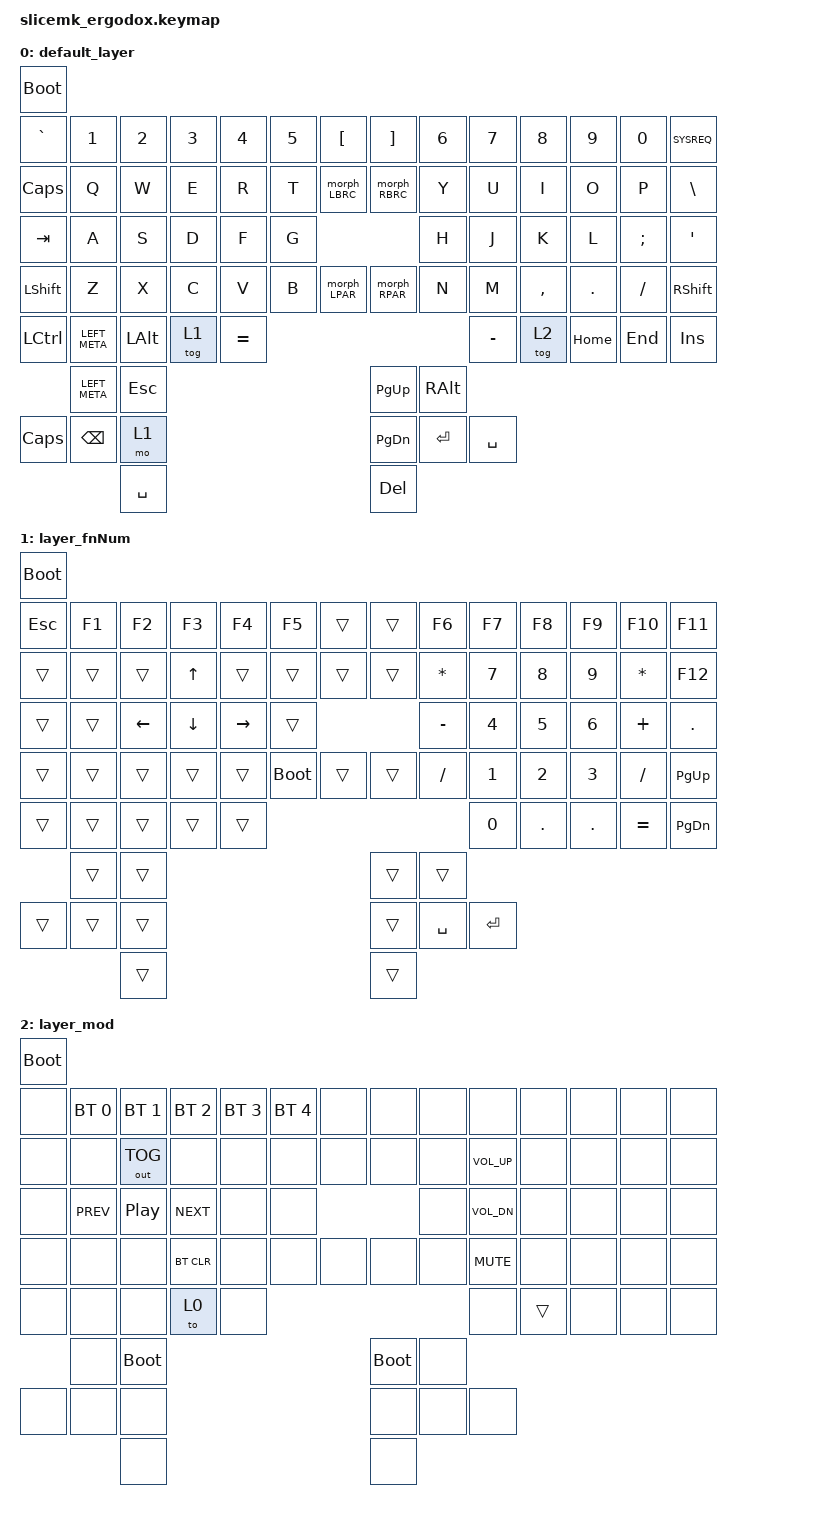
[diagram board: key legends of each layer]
#include <behaviors.dtsi>
#include <dt-bindings/zmk/bt.h>
#include <dt-bindings/zmk/keys.h>
#include <dt-bindings/zmk/mouse.h>
#include <dt-bindings/zmk/outputs.h>

/ {
  behaviors {

    hm: homerow_mods {
        compatible = "zmk,behavior-hold-tap";
        label = "HOMEROW_MODS";
        #binding-cells = <2>;
        tapping-term-ms = <200>;
        quick_tap_ms = <175>;
        flavor = "tap-preferred";
        bindings = <&kp>, <&kp>;
    };

    morph_LPAR: morph_LPAR {
        compatible = "zmk,behavior-mod-morph";
        #binding-cells = <0>;
        bindings = <&kp LPAR>, <&kp LBKT>;
        mods = <(MOD_LSFT|MOD_RSFT)>;
    };

    morph_RPAR: morph_RPAR {
        compatible = "zmk,behavior-mod-morph";
        #binding-cells = <0>;
        bindings = <&kp RPAR>, <&kp RBKT>;
        mods = <(MOD_LSFT|MOD_RSFT)>;
    };

    morph_LBRC: morph_LBRC {
        compatible = "zmk,behavior-mod-morph";
        #binding-cells = <0>;
        bindings = <&kp LBRC>, <&kp LT>;
        mods = <(MOD_LSFT|MOD_RSFT)>;
    };

    morph_RBRC: morph_RBRC {
        compatible = "zmk,behavior-mod-morph";
        #binding-cells = <0>;
        bindings = <&kp RBRC>, <&kp GT>;
        mods = <(MOD_LSFT|MOD_RSFT)>;
    };
  };

  keymap {
      compatible = "zmk,keymap";


      default_layer {
          bindings = <
&bootloader
&kp        GRAVE  &kp        N1  &kp       N2  &kp N3  &kp    N4  &kp N5  &kp LEFT_BRACKET    &kp RIGHT_BRACKET  &kp N6  &kp    N7  &kp    N8  &kp   N9  &kp   N0  &kp      SYSREQ
&kp     CAPSLOCK  &kp         Q  &kp        W  &kp  E  &kp     R  &kp  T  &morph_LBRC         &morph_RBRC        &kp  Y  &kp     U  &kp     I  &kp    O  &kp    P  &kp        BSLH
&kp          TAB  &kp         A  &kp        S  &kp  D  &kp     F  &kp  G                                         &kp  H  &kp     J  &kp     K  &kp    L  &kp SEMI  &kp         SQT
&kp        LSHFT  &kp         Z  &kp        X  &kp  C  &kp     V  &kp  B  &morph_LPAR         &morph_RPAR        &kp  N  &kp     M  &kp COMMA  &kp  DOT  &kp FSLH  &kp RIGHT_SHIFT
&kp LEFT_CONTROL  &kp LEFT_META  &kp LEFT_ALT  &tog 1  &kp EQUAL                                                         &kp MINUS  &tog    2  &kp HOME  &kp  END  &kp         INS

              &kp LEFT_META  &kp   ESC                                                        &kp   PAGE_UP  &kp RIGHT_ALT
&kp CAPSLOCK  &kp BACKSPACE  &mo     1                                                        &kp PAGE_DOWN  &kp     ENTER  &kp SPACE
                             &kp SPACE                                                        &kp       DEL
					>;
      };

      layer_fnNum {
          bindings = <
&bootloader
&kp ESCAPE  &kp F1  &kp   F2  &kp   F3  &kp    F4  &kp      F5  &trans    &trans  &kp    F6  &kp F7  &kp     F8  &kp     F9  &kp      F10 &kp       F11
&trans      &trans  &trans    &kp   UP  &trans     &trans       &trans    &trans  &kp  STAR  &kp N7  &kp     N8  &kp     N9  &kp ASTERISK &kp       F12
&trans      &trans  &kp LEFT  &kp DOWN  &kp RIGHT  &trans                         &kp MINUS  &kp N4  &kp     N5  &kp     N6  &kp     PLUS &kp    PERIOD
&trans      &trans  &trans    &trans    &trans     &bootloader  &trans    &trans  &kp SLASH  &kp N1  &kp     N2  &kp     N3  &kp    SLASH &kp   PAGE_UP
&trans      &trans  &trans    &trans    &trans                                               &kp N0  &kp PERIOD  &kp PERIOD  &kp    EQUAL &kp PAGE_DOWN

        &trans  &trans                                                    &trans  &trans
&trans  &trans  &trans                                                    &trans  &kp SPACE  &kp ENTER
                &trans                                                    &trans
          >;
      };

      layer_mod {
          bindings = <
&bootloader
&none  &bt BT_SEL 0  &bt     BT_SEL 1  &bt BT_SEL 2  &bt BT_SEL 3 &bt BT_SEL 4  &none    &none  &none  &none         &none   &none  &none  &none
&none  &none         &out     OUT_TOG  &none         &none        &none         &none    &none  &none  &kp C_VOL_UP  &none   &none  &none  &none
&none  &kp   C_PREV  &kp C_PLAY_PAUSE  &kp   C_NEXT  &none        &none                         &none  &kp C_VOL_DN  &none   &none  &none  &none
&none  &none         &none             &bt   BT_CLR  &none        &none         &none    &none  &none  &kp   C_MUTE  &none   &none  &none  &none
&none  &none         &none             &to        0  &none                                             &none         &trans  &none  &none  &none

       &none  &bootloader                                                                &bootloader  &none
&none  &none        &none                                                                &none        &none  &none
                    &none                                                                &none
          >;
      };

  };
};
